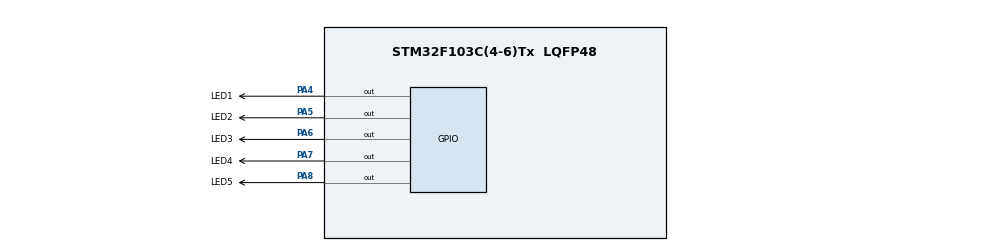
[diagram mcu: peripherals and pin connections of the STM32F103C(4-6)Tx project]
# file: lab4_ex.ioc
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Mcu.Family=STM32F1
Mcu.Name=STM32F103C(4-6)Tx
Mcu.Package=LQFP48
NVIC.PriorityGroup=NVIC_PRIORITYGROUP_4
NVIC.TIM2_IRQn=true\:0\:0\:false\:false\:true\:true\:true\:true
PA4.GPIO_Label=LED1
PA4.Signal=GPIO_Output
PA5.GPIO_Label=LED2
PA5.Signal=GPIO_Output
PA6.GPIO_Label=LED3
PA6.Signal=GPIO_Output
PA7.GPIO_Label=LED4
PA7.Signal=GPIO_Output
PA8.GPIO_Label=LED5
PA8.Signal=GPIO_Output
ProjectManager.HeapSize=0x200
ProjectManager.StackSize=0x400
ProjectManager.TargetToolchain=STM32CubeIDE
RCC.APB1Freq_Value=8000000
RCC.APB2Freq_Value=8000000
TIM2.Prescaler=9
VP_TIM2_VS_ClockSourceINT.Mode=Internal
board=custom

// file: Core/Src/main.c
/* USER CODE BEGIN Header */
/**
 ******************************************************************************
 * @file           : main.c
 * @brief          : Main program body
 ******************************************************************************
 * @attention
 *
 * Copyright (c) 2023 STMicroelectronics.
 * All rights reserved.
 *
 * This software is licensed under terms that can be found in the LICENSE file
 * in the root directory of this software component.
 * If no LICENSE file comes with this software, it is provided AS-IS.
 *
 ******************************************************************************
 */
/* USER CODE END Header */
#include "main.h"

TIM_HandleTypeDef htim2;

void SystemClock_Config(void);
static void MX_GPIO_Init(void);
static void MX_TIM2_Init(void);

/* USER CODE BEGIN 0 */
typedef struct
{
  // Pointer to the task
  void (*pTask)(void);
  // Delay (ticks) until the function will (next) be run
  uint32_t Delay;
  // Interval (ticks) between subsequent runs
  uint32_t Period;
  // Incremented (by scheduler) when task is due to execute
  uint8_t RunMe;
  // This is a hint to solve the question below
  uint32_t TaskID;
} sTask;

// MUST BE ADJUSTED FOR EACH NEW PROJECT
#define SCH_MAX_TASKS 40
uint8_t nTask = 0;
sTask SCH_tasks_G[SCH_MAX_TASKS];

// Ham giam dan thoi gian delay va set RunMe len de execute
void SCH_Update()
{
  if (SCH_tasks_G[0].pTask)
  {
    if (SCH_tasks_G[0].Delay == 0)
    {
      SCH_tasks_G[0].RunMe += 1;
    }
    else
    {
      SCH_tasks_G[0].Delay--;
    }
  }
}

// Ham them task vao mang
void SCH_Add_Task(void(*pFunction), const uint32_t Delay, const uint32_t Period)
{
  int index = 0;
  int total_delay = Delay / 10;

  for (int i = 0; i < SCH_MAX_TASKS; i++)
  {
    if (SCH_tasks_G[i].pTask)
    {
      if (SCH_tasks_G[i].Delay <= total_delay)
      {
        total_delay = total_delay - SCH_tasks_G[i].Delay;
      }
      else
      {
        index = i;
        break;
      }
    }
    else
    {
      index = i;
      break;
    }
  }
  for (int i = SCH_MAX_TASKS; i > index; i--)
  {
    if (SCH_tasks_G[i - 1].pTask)
    {
      SCH_tasks_G[i].pTask = SCH_tasks_G[i - 1].pTask;
      SCH_tasks_G[i].Delay = SCH_tasks_G[i - 1].Delay;
      SCH_tasks_G[i].Period = SCH_tasks_G[i - 1].Period;
      SCH_tasks_G[i].RunMe = SCH_tasks_G[i - 1].RunMe;
    }
  }
  SCH_tasks_G[index].pTask = pFunction;
  SCH_tasks_G[index].Delay = total_delay;
  SCH_tasks_G[index].Period = Period;
  SCH_tasks_G[index].RunMe = 0;
  if (SCH_tasks_G[index + 1].pTask)
  {
    SCH_tasks_G[index + 1].Delay = SCH_tasks_G[index + 1].Delay - total_delay;
  }
}

// delete task with index
void SCH_Delete(uint8_t index)
{
  SCH_tasks_G[index].Delay = 0;
  SCH_tasks_G[index].Period = 0;
  SCH_tasks_G[index].RunMe = 0;
  SCH_tasks_G[index].pTask = 0x0000;
}

// Xoa task dau tien
void SCH_Delete_Task(uint8_t index)
{
  int final = 0;
  SCH_Delete(index);
  for (int i = index; i < SCH_MAX_TASKS; i++)
  {
    SCH_tasks_G[i].pTask = SCH_tasks_G[i + 1].pTask;
    SCH_tasks_G[i].Delay = SCH_tasks_G[i + 1].Delay;
    SCH_tasks_G[i].Period = SCH_tasks_G[i + 1].Period;
    SCH_tasks_G[i].RunMe = SCH_tasks_G[i + 1].RunMe;
    if (SCH_tasks_G[i].pTask == 0x0000)
    {
      final = i;
      break;
    }
  }
  SCH_Delete(final);
}

// Ham check xem co task nao can execute chua
void SCH_Dispatch_Tasks(void)
{
  if (SCH_tasks_G[0].pTask)
  {
    if (SCH_tasks_G[0].RunMe > 0)
    {
      (*SCH_tasks_G[0].pTask)();
      SCH_tasks_G[0].RunMe--;

      if (SCH_tasks_G[0].Period)
      {
        SCH_Add_Task(SCH_tasks_G[0].pTask, SCH_tasks_G[0].Period, SCH_tasks_G[0].Period);
      }
      SCH_Delete_Task(0);
    }
  }
}
// Ham xoa tat ca cac task trong array, khien array nhu vua duoc khoi tao
void SCH_Init(void)
{
  uint8_t i;
  for (i = 0; i < SCH_MAX_TASKS; i++)
  {
    SCH_tasks_G[i].Delay = 0;
    SCH_tasks_G[i].Period = 0;
    SCH_tasks_G[i].RunMe = 0;
    SCH_tasks_G[i].pTask = 0x0000;
  }
  // Reset the global error variable
  //-SCH_Delete_Task() will generate an error code
  //(because the task array is empty)
  //	Error_code_G = 0;
  //	Timer_init();
  //	Watchdog_init();
}

void toggleLED1()
{
  HAL_GPIO_TogglePin(LED1_GPIO_Port, LED1_Pin);
}

void toggleLED2()
{
  HAL_GPIO_TogglePin(LED2_GPIO_Port, LED2_Pin);
}

void toggleLED3()
{
  HAL_GPIO_TogglePin(LED3_GPIO_Port, LED3_Pin);
}

void toggleLED4()
{
  HAL_GPIO_TogglePin(LED4_GPIO_Port, LED4_Pin);
}

void toggleLED5()
{
  HAL_GPIO_TogglePin(LED5_GPIO_Port, LED5_Pin);
}

/* USER CODE END 0 */

int main(void)
{

  /* MCU Configuration--------------------------------------------------------*/

  /* Reset of all peripherals, Initializes the Flash interface and the Systick. */
  HAL_Init();

  /* Configure the system clock */
  SystemClock_Config();

  /* Initialize all configured peripherals */
  MX_GPIO_Init();
  MX_TIM2_Init();
  /* USER CODE BEGIN 2 */
  HAL_TIM_Base_Start_IT(&htim2);
  /* USER CODE END 2 */

  /* Infinite loop */
  /* USER CODE BEGIN WHILE */
  //  SCH_Init();
  SCH_Add_Task(toggleLED1, 500, 500);
  SCH_Add_Task(toggleLED2, 1010, 1000);
  SCH_Add_Task(toggleLED3, 1520, 1500);
  SCH_Add_Task(toggleLED4, 2030, 2000);
  SCH_Add_Task(toggleLED5, 2540, 2500);
  while (1)
  {

    SCH_Dispatch_Tasks();
    /* USER CODE END WHILE */

  }
}

void SystemClock_Config(void)
{
  RCC_OscInitTypeDef RCC_OscInitStruct = {0};
  RCC_ClkInitTypeDef RCC_ClkInitStruct = {0};

  /** Initializes the RCC Oscillators according to the specified parameters
   * in the RCC_OscInitTypeDef structure.
   */
  RCC_OscInitStruct.OscillatorType = RCC_OSCILLATORTYPE_HSI;
  RCC_OscInitStruct.HSIState = RCC_HSI_ON;
  RCC_OscInitStruct.HSICalibrationValue = RCC_HSICALIBRATION_DEFAULT;
  RCC_OscInitStruct.PLL.PLLState = RCC_PLL_NONE;
  if (HAL_RCC_OscConfig(&RCC_OscInitStruct) != HAL_OK)
  {
    Error_Handler();
  }

  /** Initializes the CPU, AHB and APB buses clocks
   */
  RCC_ClkInitStruct.ClockType = RCC_CLOCKTYPE_HCLK | RCC_CLOCKTYPE_SYSCLK | RCC_CLOCKTYPE_PCLK1 | RCC_CLOCKTYPE_PCLK2;
  RCC_ClkInitStruct.SYSCLKSource = RCC_SYSCLKSOURCE_HSI;
  RCC_ClkInitStruct.AHBCLKDivider = RCC_SYSCLK_DIV1;
  RCC_ClkInitStruct.APB1CLKDivider = RCC_HCLK_DIV1;
  RCC_ClkInitStruct.APB2CLKDivider = RCC_HCLK_DIV1;

  if (HAL_RCC_ClockConfig(&RCC_ClkInitStruct, FLASH_LATENCY_0) != HAL_OK)
  {
    Error_Handler();
  }
}

static void MX_TIM2_Init(void)
{

  TIM_ClockConfigTypeDef sClockSourceConfig = {0};
  TIM_MasterConfigTypeDef sMasterConfig = {0};

  htim2.Instance = TIM2;
  htim2.Init.Prescaler = 7999;
  htim2.Init.CounterMode = TIM_COUNTERMODE_UP;
  htim2.Init.Period = 9;
  htim2.Init.ClockDivision = TIM_CLOCKDIVISION_DIV1;
  htim2.Init.AutoReloadPreload = TIM_AUTORELOAD_PRELOAD_DISABLE;
  if (HAL_TIM_Base_Init(&htim2) != HAL_OK)
  {
    Error_Handler();
  }
  sClockSourceConfig.ClockSource = TIM_CLOCKSOURCE_INTERNAL;
  if (HAL_TIM_ConfigClockSource(&htim2, &sClockSourceConfig) != HAL_OK)
  {
    Error_Handler();
  }
  sMasterConfig.MasterOutputTrigger = TIM_TRGO_RESET;
  sMasterConfig.MasterSlaveMode = TIM_MASTERSLAVEMODE_DISABLE;
  if (HAL_TIMEx_MasterConfigSynchronization(&htim2, &sMasterConfig) != HAL_OK)
  {
    Error_Handler();
  }
}

static void MX_GPIO_Init(void)
{
  GPIO_InitTypeDef GPIO_InitStruct = {0};

  /* GPIO Ports Clock Enable */
  __HAL_RCC_GPIOA_CLK_ENABLE();

  /*Configure GPIO pin Output Level */
  HAL_GPIO_WritePin(GPIOA, LED1_Pin | LED2_Pin | LED3_Pin | LED4_Pin | LED5_Pin, GPIO_PIN_RESET);

  /*Configure GPIO pins : LED1_Pin LED2_Pin LED3_Pin LED4_Pin
                           LED5_Pin */
  GPIO_InitStruct.Pin = LED1_Pin | LED2_Pin | LED3_Pin | LED4_Pin | LED5_Pin;
  GPIO_InitStruct.Mode = GPIO_MODE_OUTPUT_PP;
  GPIO_InitStruct.Pull = GPIO_NOPULL;
  GPIO_InitStruct.Speed = GPIO_SPEED_FREQ_LOW;
  HAL_GPIO_Init(GPIOA, &GPIO_InitStruct);

}

/* USER CODE BEGIN 4 */
void HAL_TIM_PeriodElapsedCallback(TIM_HandleTypeDef *htim)
{
  SCH_Update();
}
/* USER CODE END 4 */

void Error_Handler(void)
{
  __disable_irq();
  while (1)
  {
  }
}
